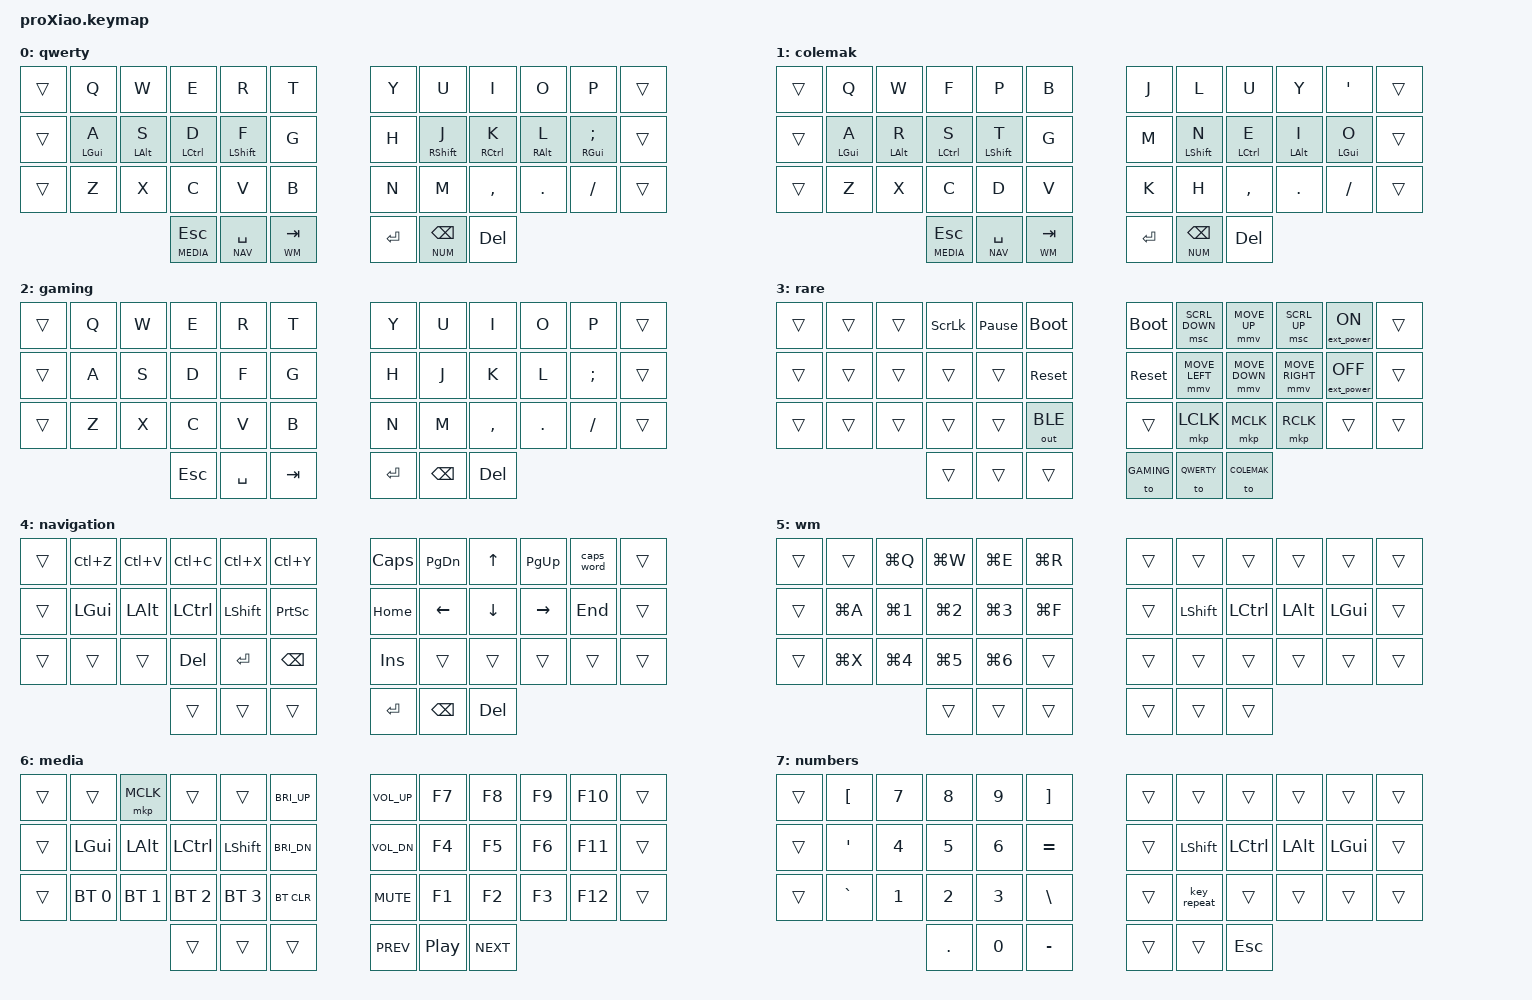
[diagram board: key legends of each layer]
//
// Jason Liu Layout for Corne 3
// https://github.com/jasoneliu/zmk-config/blob/main/config/corne.keymap
//
// kagoromo
// https://github.com/kagoromo/zmk-config/blob/main/config/base.keymap
//

#include <behaviors.dtsi>
#include <dt-bindings/zmk/keys.h>
#include <dt-bindings/zmk/bt.h>
#include <dt-bindings/zmk/ext_power.h>
#include <dt-bindings/zmk/outputs.h>
#include <dt-bindings/zmk/pointing.h>
#include <behaviors/num_word.dtsi>

// Vars
#define XXX &none
#define ___ &trans

// Layer Definitions
#define QWERTY 0
#define COLEMAK 1
#define GAMING 2
#define RARE 3
#define NAV 4
#define WM 5
#define MEDIA 6
#define NUM 7

#define COMBO_PRIOR_IDLE 50
#define COMBO_TIMEOUT_MS 35

// Functions
#define COMBO(NAME, BINDINGS, KEYPOS, IDLE, MS) \
    combo_##NAME { \
        bindings = <BINDINGS>; \
        key-positions = <KEYPOS>; \
        require-prior-idle-ms = <IDLE>; \
        timeout-ms = <MS>; \
    };

// Behavior configuration
&lt {
    tapping-term-ms = <200>;
    quick_tap_ms = <0>;
    flavor = "tap-preferred";
};

&mt {
    tapping-term-ms = <200>;
    quick_tap_ms = <0>;
    flavor = "tap-preferred";
};

&sk {
    release-after-ms = <500>;
    quick-release;
};

&caps_word {
    continue-list = <UNDERSCORE MINUS BACKSPACE DELETE>;
};

&num_word {
    continue-list = <BSPC DEL DOT COMMA PLUS MINUS FSLH BSLH EQUAL UNDERSCORE COLON>;
    ignore-modifiers;
};

&mmv {
    time-to-max-speed-ms = <50>;
};

&msc {
    acceleration-exponent = <1>;
};

// Keymap configuration (Colemak-DHm)
/ {
    combos {
        compatible = "zmk,combos";
        COMBO(lout, &mo RARE,       1 2,  COMBO_PRIOR_IDLE, COMBO_TIMEOUT_MS)
        COMBO(lpar, &kp LPAR,       3 4,  COMBO_PRIOR_IDLE, COMBO_TIMEOUT_MS)
        COMBO(rpar, &kp RPAR,       7 8,  COMBO_PRIOR_IDLE, COMBO_TIMEOUT_MS)
        COMBO(lbkt, &kp LBKT,       2 3,  COMBO_PRIOR_IDLE, COMBO_TIMEOUT_MS)
        COMBO(rbkt, &kp RBKT,       8 9,  COMBO_PRIOR_IDLE, COMBO_TIMEOUT_MS)
        COMBO(lbrc, &kp LBRC,       2 4,  COMBO_PRIOR_IDLE, COMBO_TIMEOUT_MS)
        COMBO(rbrc, &kp RBRC,       7 9,  COMBO_PRIOR_IDLE, COMBO_TIMEOUT_MS)
        COMBO(nwrd, &num_word NUM, 13 14, COMBO_PRIOR_IDLE, COMBO_TIMEOUT_MS)
        COMBO(caps, &caps_word,    21 22, COMBO_PRIOR_IDLE, COMBO_TIMEOUT_MS)
        COMBO(lang, &kp LG(SPACE), 37 40, COMBO_PRIOR_IDLE, COMBO_TIMEOUT_MS)
    };

    keymap {
        compatible = "zmk,keymap";

        qwerty {
// ╭────────────┬────────────┬────────────┬────────────┬────────────┬────────────╮   ╭────────────┬────────────┬────────────┬────────────┬────────────┬────────────╮
// │            │ Q          │ W          │ E          │ R          │ T          │   │ Y          │ U          │ I          │ O          │ P          │            │
// ├────────────┼────────────┼────────────┼────────────┼────────────┼────────────┤   ├────────────┼────────────┼────────────┼────────────┼────────────┼────────────┤
// │            │ A/LGUI     │ S/LALT     │ D/LCTRL    │ F/LSHFT    │ G          │   │ H          │ J/RSHFT    │ K/RCTRL    │ L/RALT     │ ;/RGUI     │            │
// ├────────────┼────────────┼────────────┼────────────┼────────────┼────────────┤   ├────────────┼────────────┼────────────┼────────────┼────────────┼────────────┤
// │            │ Z          │ X          │ C          │ V          │ B          │   │ N          │ M          │ ,          │ .          │ /          │            │
// ╰────────────┴────────────┴────────────┼────────────┼────────────┼────────────┤   ├────────────┼────────────┼────────────┼────────────┴────────────┴────────────╯
//                                        │ ESC/MEDIA  │ SPACE/NAV  │ TAB/WM     │   │ ENTER      │ BSPC/NUM   │ DEL        │
//                                        ╰────────────┴────────────┴────────────╯   ╰────────────┴────────────┴────────────╯
            bindings = <
___   &kp Q        &kp W        &kp E           &kp R           &kp T                  &kp Y       &kp U            &kp I         &kp O        &kp P           ___
___   &mt LGUI A   &mt LALT S   &mt LCTRL D     &mt LSHFT F     &kp G                  &kp H       &mt RSHFT J      &mt RCTRL K   &mt RALT L   &mt RGUI SEMI   ___
___   &kp Z        &kp X        &kp C           &kp V           &kp B                  &kp N       &kp M            &kp COMMA     &kp DOT      &kp FSLH        ___
                                &lt MEDIA ESC   &lt NAV SPACE   &lt WM TAB             &kp ENTER   &lt NUM BSPC     &kp DEL
            >;
        };

        colemak {
// ╭────────────┬────────────┬────────────┬────────────┬────────────┬────────────╮   ╭────────────┬────────────┬────────────┬────────────┬────────────┬────────────╮
// │            │ Q          │ W          │ F          │ P          │ B          │   │ J          │ L          │ U          │ Y          │ '          │            │
// ├────────────┼────────────┼────────────┼────────────┼────────────┼────────────┤   ├────────────┼────────────┼────────────┼────────────┼────────────┼────────────┤
// │            │ A/LGUI     │ R/LALT     │ S/LCTRL    │ T/LSHFT    │ G          │   │ M          │ N/LSHFT    │ E/LCTRL    │ I/LALT     │ O/LGUI     │            │
// ├────────────┼────────────┼────────────┼────────────┼────────────┼────────────┤   ├────────────┼────────────┼────────────┼────────────┼────────────┼────────────┤
// │            │ Z          │ X          │ C          │ D          │ V          │   │ K          │ H          │ ,          │ .          │ /          │            │
// ╰────────────┴────────────┴────────────┼────────────┼────────────┼────────────┤   ├────────────┼────────────┼────────────┼────────────┴────────────┴────────────╯
//                                        │ ESC/MEDIA  │ SPACE/NAV  │ TAB/WM     │   │ ENTER      │ BSPC/NUM   │ DEL        │
//                                        ╰────────────┴────────────┴────────────╯   ╰────────────┴────────────┴────────────╯
            bindings = <
___   &kp Q        &kp W        &kp F           &kp P           &kp B                  &kp J       &kp L          &kp U         &kp Y        &kp SQT      ___
___   &mt LGUI A   &mt LALT R   &mt LCTRL S     &mt LSHFT T     &kp G                  &kp M       &mt LSHFT N    &mt LCTRL E   &mt LALT I   &mt LGUI O   ___
___   &kp Z        &kp X        &kp C           &kp D           &kp V                  &kp K       &kp H          &kp COMMA     &kp DOT      &kp FSLH     ___
                                &lt MEDIA ESC   &lt NAV SPACE   &lt WM TAB             &kp ENTER   &lt NUM BSPC   &kp DEL
            >;
        };

        gaming {
// ╭────────────┬────────────┬────────────┬────────────┬────────────┬────────────╮   ╭────────────┬────────────┬────────────┬────────────┬────────────┬────────────╮
// │            │ Q          │ W          │ E          │ R          │ T          │   │ Y          │ U          │ I          │ O          │ P          │            │
// ├────────────┼────────────┼────────────┼────────────┼────────────┼────────────┤   ├────────────┼────────────┼────────────┼────────────┼────────────┼────────────┤
// │            │ A          │ S          │ D          │ F          │ G          │   │ H          │ J          │ K          │ L          │ ;          │            │
// ├────────────┼────────────┼────────────┼────────────┼────────────┼────────────┤   ├────────────┼────────────┼────────────┼────────────┼────────────┼────────────┤
// │            │ Z          │ X          │ C          │ V          │ B          │   │ N          │ M          │ ,          │ .          │ /          │            │
// ╰────────────┴────────────┴────────────┼────────────┼────────────┼────────────┤   ├────────────┼────────────┼────────────┼────────────┴────────────┴────────────╯
//                                        │ ESC        │ SPACE      │ TAB        │   │ ENTER      │ BSPC       │ DEL        │
//                                        ╰────────────┴────────────┴────────────╯   ╰────────────┴────────────┴────────────╯
            bindings = <
___   &kp Q   &kp W   &kp E     &kp R       &kp T                                      &kp Y       &kp U      &kp I       &kp O     &kp P      ___
___   &kp A   &kp S   &kp D     &kp F       &kp G                                      &kp H       &kp J      &kp K       &kp L     &kp SEMI   ___
___   &kp Z   &kp X   &kp C     &kp V       &kp B                                      &kp N       &kp M      &kp COMMA   &kp DOT   &kp FSLH   ___
                      &kp ESC   &kp SPACE   &kp TAB                                    &kp ENTER   &kp BSPC   &kp DEL
            >;
        };

        rare {
// ╭────────────┬────────────┬────────────┬────────────┬────────────┬────────────╮   ╭────────────┬────────────┬────────────┬────────────┬────────────┬────────────╮
// │            │ HELD-COMBO │ HELD-COMBO │ SLCK       │ PAUSE      │ BOOTLOAD   │   │ BOOTLOAD   │ SCRL_DOWN  │ MOVE_UP    │ SCRL_UP    │ EP_ON      │            │
// ├────────────┼────────────┼────────────┼────────────┼────────────┼────────────┤   ├────────────┼────────────┼────────────┼────────────┼────────────┼────────────┤
// │            │            │            │            │            │ RESET      │   │ RESET      │ MOVE_LEFT  │ MOVE_DOWN  │ MOVE_RIGHT │ EP_OFF     │            │
// ├────────────┼────────────┼────────────┼────────────┼────────────┼────────────┤   ├────────────┼────────────┼────────────┼────────────┼────────────┼────────────┤
// │            │            │            │            │            │ OUT_BLE    │   │            │ LCLK       │ MCLK       │ RCLK       │            │            │
// ╰────────────┴────────────┴────────────┼────────────┼────────────┼────────────┤   ├────────────┼────────────┼────────────┼────────────┴────────────┴────────────╯
//                                        │            │            │            │   │ GAMING     │ QWERTY     │ COLEMAK    │
//                                        ╰────────────┴────────────┴────────────╯   ╰────────────┴────────────┴────────────╯
            bindings = <
___   ___   ___   &kp SLCK   &kp PAUSE_BREAK   &bootloader                             &bootloader   &msc SCRL_DOWN   &mmv MOVE_UP     &msc SCRL_UP      &ext_power EP_ON    ___
___   ___   ___   ___        ___               &sys_reset                              &sys_reset    &mmv MOVE_LEFT   &mmv MOVE_DOWN   &mmv MOVE_RIGHT   &ext_power EP_OFF   ___
___   ___   ___   ___        ___               &out OUT_BLE                            ___           &mkp LCLK        &mkp MCLK        &mkp RCLK         ___                 ___
                  ___        ___               ___                                     &to GAMING    &to QWERTY       &to COLEMAK
            >;
        };

        navigation {
// ╭────────────┬────────────┬────────────┬────────────┬────────────┬────────────╮   ╭────────────┬────────────┬────────────┬────────────┬────────────┬────────────╮
// │            │ UNDO       │ PASTE      │ COPY       │ CUT        │ REDO       │   │ CAPS       │ PGDN       │ UP         │ PGUP       │ CPS_WRD    │            │
// ├────────────┼────────────┼────────────┼────────────┼────────────┼────────────┤   ├────────────┼────────────┼────────────┼────────────┼────────────┼────────────┤
// │            │ LGUI       │ LALT       │ LCTRL      │ LSHFT      │ PSCRN      │   │ HOME       │ LEFT       │ DOWN       │ RIGHT      │ END        │            │
// ├────────────┼────────────┼────────────┼────────────┼────────────┼────────────┤   ├────────────┼────────────┼────────────┼────────────┼────────────┼────────────┤
// │            │            │            │ DEL        │ ENTER      │ BSPC       │   │ INS        │            │            │            │            │            │
// ╰────────────┴────────────┴────────────┼────────────┼────────────┼────────────┤   ├────────────┼────────────┼────────────┼────────────┴────────────┴────────────╯
//                                        │            │ HELD       │            │   │ ENTER      │ BSPC       │ DEL        │
//                                        ╰────────────┴────────────┴────────────╯   ╰────────────┴────────────┴────────────╯
            bindings = <
___   &kp LC(Z)   &kp LC(V)   &kp LC(C)   &kp LC(X)   &kp LC(Y)                        &kp CAPSLOCK   &kp PG_DN   &kp UP     &kp PG_UP   &caps_word   ___
___   &kp LGUI    &kp LALT    &kp LCTRL   &kp LSHFT   &kp PSCRN                        &kp HOME       &kp LEFT    &kp DOWN   &kp RIGHT   &kp END      ___
___   ___         ___         &kp DEL     &kp ENTER   &kp BSPC                         &kp INS        ___         ___        ___         ___          ___
                              ___         ___         ___                              &kp ENTER      &kp BSPC    &kp DEL
            >;
        };

        wm {
// ╭────────────┬────────────┬────────────┬────────────┬────────────┬────────────╮   ╭────────────┬────────────┬────────────┬────────────┬────────────┬────────────╮
// │            │            │ WINQ       │ WINW       │ WINE       │ WINR       │   │            │            │            │            │            │            │
// ├────────────┼────────────┼────────────┼────────────┼────────────┼────────────┤   ├────────────┼────────────┼────────────┼────────────┼────────────┼────────────┤
// │            │ WINA       │ WIN1       │ WIN2       │ WIN3       │ WINF       │   │            │ LSHFT      │ LCTRL      │ LALT       │ LGUI       │            │
// ├────────────┼────────────┼────────────┼────────────┼────────────┼────────────┤   ├────────────┼────────────┼────────────┼────────────┼────────────┼────────────┤
// │            │ WINX       │ WIN4       │ WIN5       │ WIN6       │            │   │            │            │            │            │            │            │
// ╰────────────┴────────────┴────────────┼────────────┼────────────┼────────────┤   ├────────────┼────────────┼────────────┼────────────┴────────────┴────────────╯
//                                        │            │            │ HELD       │   │            │            │            │
//                                        ╰────────────┴────────────┴────────────╯   ╰────────────┴────────────┴────────────╯
            bindings = <
___   ___         &kp LG(Q)    &kp LG(W)    &kp LG(E)    &kp LG(R)                     ___   ___         ___         ___        ___        ___
___   &kp LG(A)   &kp LG(N1)   &kp LG(N2)   &kp LG(N3)   &kp LG(F)                     ___   &kp LSHFT   &kp LCTRL   &kp LALT   &kp LGUI   ___
___   &kp LG(X)   &kp LG(N4)   &kp LG(N5)   &kp LG(N6)   ___                           ___   ___         ___         ___        ___        ___
                               ___          ___          ___                           ___   ___         ___
            >;
        };

        media {
// ╭────────────┬────────────┬────────────┬────────────┬────────────┬────────────╮   ╭────────────┬────────────┬────────────┬────────────┬────────────┬────────────╮
// │            │            │ MCLK       │            │            │ BR_UP      │   │ VOL_UP     │ F7         │ F8         │ F9         │ F10        │            │
// ├────────────┼────────────┼────────────┼────────────┼────────────┼────────────┤   ├────────────┼────────────┼────────────┼────────────┼────────────┼────────────┤
// │            │ LGUI       │ LALT       │ LCTRL      │ LSHFT      │ BR_DN      │   │ VOL_DN     │ F4         │ F5         │ F6         │ F11        │            │
// ├────────────┼────────────┼────────────┼────────────┼────────────┼────────────┤   ├────────────┼────────────┼────────────┼────────────┼────────────┼────────────┤
// │            │ BT_0       │ BT_1       │ BT_2       │ BT_3       │ BT_CLR     │   │ MUTE       │ F1         │ F2         │ F3         │ F12        │            │
// ╰────────────┴────────────┴────────────┼────────────┼────────────┼────────────┤   ├────────────┼────────────┼────────────┼────────────┴────────────┴────────────╯
//                                        │ HELD       │            │            │   │ PREV       │ PLAY/PAUSE │ NEXT       │
//                                        ╰────────────┴────────────┴────────────╯   ╰────────────┴────────────┴────────────╯
            bindings = <
___   ___            &mkp MCLK      ___            ___            &kp C_BRI_UP         &kp C_VOL_UP   &kp F7     &kp F8       &kp F9   &kp F10   ___
___   &kp LGUI       &kp LALT       &kp LCTRL      &kp LSHFT      &kp C_BRI_DN         &kp C_VOL_DN   &kp F4     &kp F5       &kp F6   &kp F11   ___
___   &bt BT_SEL 0   &bt BT_SEL 1   &bt BT_SEL 2   &bt BT_SEL 3   &bt BT_CLR           &kp C_MUTE     &kp F1     &kp F2       &kp F3   &kp F12   ___
                                    ___            ___            ___                  &kp C_PREV     &kp C_PP   &kp C_NEXT
            >;
        };

        numbers {
// ╭────────────┬────────────┬────────────┬────────────┬────────────┬────────────╮   ╭────────────┬────────────┬────────────┬────────────┬────────────┬────────────╮
// │            │ [          │ 7          │ 8          │ 9          │ ]          │   │            │            │            │            │            │            │
// ├────────────┼────────────┼────────────┼────────────┼────────────┼────────────┤   ├────────────┼────────────┼────────────┼────────────┼────────────┼────────────┤
// │            │ '          │ 4          │ 5          │ 6          │ =          │   │            │ LSHFT      │ LCTRL      │ LALT       │ LGUI       │            │
// ├────────────┼────────────┼────────────┼────────────┼────────────┼────────────┤   ├────────────┼────────────┼────────────┼────────────┼────────────┼────────────┤
// │            │ `          │ 1          │ 2          │ 3          │ \          │   │            │ REPEAT     │            │            │            │            │
// ╰────────────┴────────────┴────────────┼────────────┼────────────┼────────────┤   ├────────────┼────────────┼────────────┼────────────┴────────────┴────────────╯
//                                        │ .          │ 0          │ -          │   │            │ HELD       │ ESC        │
//                                        ╰────────────┴────────────┴────────────╯   ╰────────────┴────────────┴────────────╯
            bindings = <
___   &kp LBKT    &kp N7   &kp N8    &kp N9   &kp RBKT                                 ___   ___           ___         ___        ___        ___
___   &kp SQT     &kp N4   &kp N5    &kp N6   &kp EQUAL                                ___   &kp LSHFT     &kp LCTRL   &kp LALT   &kp LGUI   ___
___   &kp GRAVE   &kp N1   &kp N2    &kp N3   &kp BSLH                                 ___   &key_repeat   ___         ___        ___        ___
                           &kp DOT   &kp N0   &kp MINUS                                ___   ___           &kp ESC
            >;
        };

    };
};
